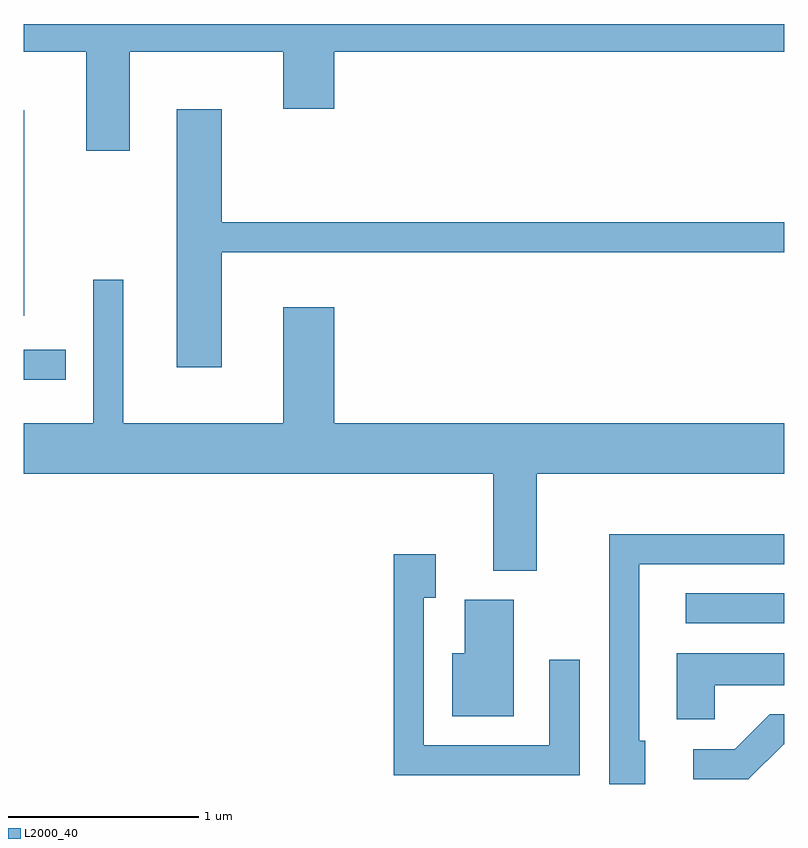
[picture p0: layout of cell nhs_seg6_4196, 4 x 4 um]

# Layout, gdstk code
import gdstk
lib = gdstk.Library(unit=1e-6, precision=1e-09)
def R(c, l, rs):  # rectangles x0, y0, x1, y1
    for r in rs: c.add(gdstk.rectangle(r[:2], r[2:], *l))
def P(c, l, *ps):  # polygons
    for p in ps: c.add(gdstk.Polygon(p, *l))
L2000_40 = (2000, 40)

nhs_seg6_4196 = lib.new_cell('nhs_seg6_4196')
R(nhs_seg6_4196, L2000_40, [(317.093,1567.011,317.611,1567.169), (313.611,1568.291,313.833,1568.449), (313.611,1568.628,313.614,1569.708)])
P(nhs_seg6_4196, L2000_40, [(314.169,1570.016),(314.976,1570.016),(314.976,1569.716),(315.244,1569.716),(315.244,1570.016),(317.611,1570.016),(317.611,1570.162),(313.611,1570.162),(313.611,1570.016),(313.941,1570.016),(313.941,1569.496),(314.169,1569.496)],
  [(314.654,1568.961),(317.611,1568.961),(317.611,1569.119),(314.654,1569.119),(314.654,1569.714),(314.416,1569.714),(314.416,1568.356),(314.654,1568.356)],
  [(316.309,1567.796),(317.611,1567.796),(317.611,1568.064),(315.244,1568.064),(315.244,1568.674),(314.976,1568.674),(314.976,1568.064),(314.134,1568.064),(314.134,1568.818),(313.976,1568.818),(313.976,1568.064),(313.611,1568.064),(313.611,1567.796),(316.081,1567.796),(316.081,1567.286),(316.309,1567.286)],
  [(316.879,1566.394),(316.849,1566.394),(316.849,1567.321),(317.611,1567.321),(317.611,1567.479),(316.691,1567.479),(316.691,1566.166),(316.879,1566.166)],
  [(316.534,1566.818),(316.376,1566.818),(316.376,1566.369),(315.714,1566.369),(315.714,1567.146),(315.779,1567.146),(315.779,1567.374),(315.556,1567.374),(315.556,1566.211),(316.534,1566.211)],
  [(316.189,1567.134),(315.931,1567.134),(315.931,1566.854),(315.866,1566.854),(315.866,1566.521),(316.189,1566.521)],
  [(317.244,1566.686),(317.611,1566.686),(317.611,1566.854),(317.046,1566.854),(317.046,1566.506),(317.244,1566.506)],
  [(317.607,1566.376),(317.611,1566.376),(317.611,1566.534),(317.534,1566.534),(317.349,1566.349),(317.133,1566.349),(317.133,1566.191),(317.422,1566.191)])

lib.write_gds('nhs_seg6_4196.gds')
